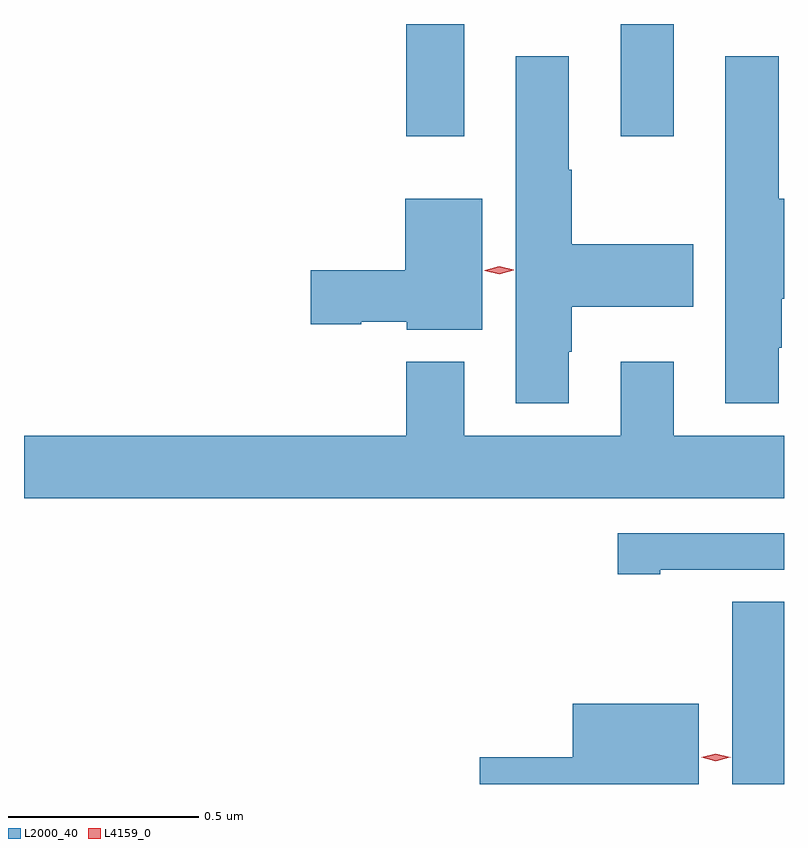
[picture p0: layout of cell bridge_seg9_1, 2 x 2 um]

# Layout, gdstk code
import gdstk
lib = gdstk.Library(unit=1e-6, precision=1e-09)
def R(c, l, rs):  # rectangles x0, y0, x1, y1
    for r in rs: c.add(gdstk.rectangle(r[:2], r[2:], *l))
def P(c, l, *ps):  # polygons
    for p in ps: c.add(gdstk.Polygon(p, *l))
L2000_40 = (2000, 40)
L4159_0 = (4159, 0)

bridge_seg9_1 = lib.new_cell('bridge_seg9_1')
R(bridge_seg9_1, L2000_40, [(1055.777,1244.952,1055.913,1245.431), (1054.919,1246.656,1055.071,1246.952), (1055.483,1246.656,1055.623,1246.952)])
P(bridge_seg9_1, L2000_40, [(1055.347,1246.089),(1055.355,1246.089),(1055.355,1246.208),(1055.674,1246.208),(1055.674,1246.372),(1055.355,1246.372),(1055.355,1246.568),(1055.347,1246.568),(1055.347,1246.867),(1055.207,1246.867),(1055.207,1245.954),(1055.347,1245.954)],
  [(1055.899,1246.1),(1055.907,1246.1),(1055.907,1246.229),(1055.913,1246.229),(1055.913,1246.492),(1055.899,1246.492),(1055.899,1246.867),(1055.759,1246.867),(1055.759,1245.954),(1055.899,1245.954)],
  [(1055.119,1246.492),(1054.916,1246.492),(1054.916,1246.304),(1054.668,1246.304),(1054.668,1246.162),(1054.8,1246.162),(1054.8,1246.169),(1054.92,1246.169),(1054.92,1246.148),(1055.119,1246.148)],
  [(1055.913,1245.868),(1055.623,1245.868),(1055.623,1246.063),(1055.483,1246.063),(1055.483,1245.868),(1055.071,1245.868),(1055.071,1246.063),(1054.919,1246.063),(1054.919,1245.868),(1053.913,1245.868),(1053.913,1245.704),(1055.913,1245.704)],
  [(1055.587,1245.516),(1055.913,1245.516),(1055.913,1245.612),(1055.475,1245.612),(1055.475,1245.504),(1055.587,1245.504)],
  [(1055.689,1245.163),(1055.357,1245.163),(1055.357,1245.023),(1055.112,1245.023),(1055.112,1244.952),(1055.689,1244.952)])
P(bridge_seg9_1, L4159_0, [(1055.734,1245.012),(1055.695,1245.022),(1055.694,1245.022),(1055.695,1245.022),(1055.734,1245.032),(1055.772,1245.022),(1055.773,1245.022),(1055.772,1245.022)],
  [(1055.164,1246.294),(1055.125,1246.303),(1055.125,1246.304),(1055.125,1246.304),(1055.163,1246.314),(1055.202,1246.305),(1055.202,1246.304),(1055.202,1246.304)])

lib.write_gds('bridge_seg9_1.gds')
